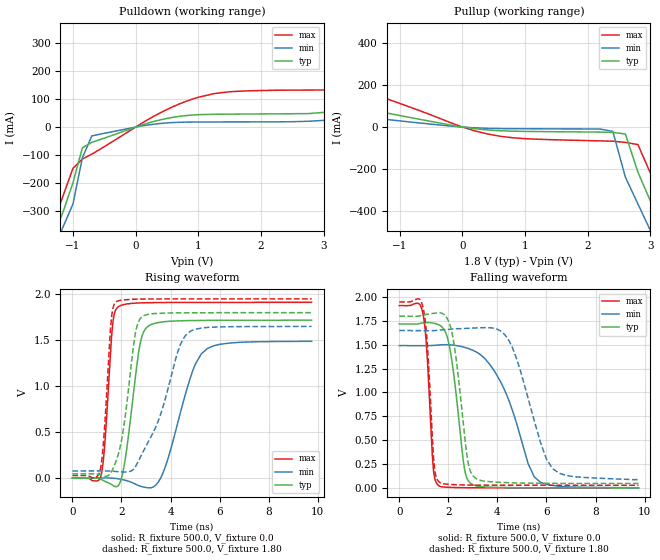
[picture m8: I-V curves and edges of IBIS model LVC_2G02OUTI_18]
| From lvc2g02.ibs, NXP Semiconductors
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|   Model LVC_2G02OUTI_18
[Model]   LVC_2G02OUTI_18
Model_type   Output
Polarity   Inverting
Vmeas =  0.9V
Cref  =  30.0pF
Rref  =  1.0k
Vref  =  0.0V
C_comp   3.40pF   2.23pF   4.36pF
[Model Spec]
| Note: The input and output voltage ratings may be exceeded if the input and
|   output current ratings are observed (please refer to the data sheet)
|   Subparameter   typ   min   max
| Timing Thresholds
Vmeas   0.9   0.825   0.975
|Ambient temperature:   25   85   -40
[Temperature Range]   25   85   -40
[Voltage Range]   1.80V   1.65V   1.95V
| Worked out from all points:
|   slope of the pulldown table from 0 to 0.27 V, typ, clamps not added: 14.4 ohm
|   slope of the pullup table from 0 to 0.27 V, typ, clamps not added: 27.3 ohm
|   rising waveform, R_fixture 500.0, V_fixture 0.0: 20-80 % time 476ps typ, 945ps min, 273ps max; typ from 0 V to 1.72 V
|   rising waveform, R_fixture 500.0, V_fixture 1.80: 20-80 % time 502ps typ, 1.16ns min, 266ps max; typ from 0.046 V to 1.8 V
|   falling waveform, R_fixture 500.0, V_fixture 0.0: 20-80 % time 464ps typ, 1.25ns min, 240ps max; typ from 1.72 V to 0 V
|   falling waveform, R_fixture 500.0, V_fixture 1.80: 20-80 % time 463ps typ, 1.06ns min, 249ps max; typ from 1.8 V to 0.046 V
|Process Range   nominal   slow   fast
[Pulldown]
| voltage   I(typ)   I(min)   I(max)
-5.5V     -4.525A    -4.561A    -4.482A
-1.45V    -520.9mA   -565.8mA   -470mA
-1.3V     -384.5mA   -430mA     -334mA
-1.15V    -297.4mA   -352.1mA   -240mA
-1V       -198.6mA   -274.3mA   -147.3mA
-850mV    -74.25mA   -109.7mA   -114.1mA
-700mV    -54.53mA   -31.75mA   -96.74mA
900mV     42.9mA     17.87mA    99.35mA
3.25V     59.57mA    28.49mA    143.3mA
5.5V      165.3mA    83.79mA    348.4mA
8.75V     350.2mA    185.6mA    696.7mA
11V       486.8mA    191.3mA    947.4mA
[Pullup]
| voltage   I(typ)   I(min)   I(max)
-9.35V    506.2mA    337.2mA    835.8mA
-8.55V    468.2mA    308.4mA    782.6mA
-4.75V    268.3mA    164.9mA    479.3mA
-2.75V    153.9mA    89.04mA    297.6mA
200mV     -7.848mA   -3.636mA   -18.36mA
2.4V      -25.33mA   -20.67mA   -67.34mA
2.6V      -32.86mA   -238.1mA   -72.8mA
2.8V      -214.4mA   -365.8mA   -83.27mA
3V        -352.1mA   -492.7mA   -219.4mA
3.2V      -516.1mA   -684.8mA   -373.7mA
3.4V      -715.5mA   -882.4mA   -569mA
7.45V     -4.682A    -4.863A    -4.503A
[Ramp]
| variable   typ   min   max
dV/dt_r   1.031V/476.124ps   892.838mV/945.379ps   1.147V/272.750ps
dV/dt_f   1.052V/463.597ps   938.224mV/1.060ns   1.154V/248.814ps
R_load = 500.0
[Rising Waveform]
R_fixture   = 500.0
V_fixture   = 0.0
V_fixture_min = 0.0
V_fixture_max = 0.0
| time   V(typ)   V(min)   V(max)
0s        9.233pV    355.8pV    3.068pV
1.15ns    -13.18mV   1.076mV    13.67mV
1.65ns    -79.96mV   -1.185mV   1.696V
1.85ns    -87.13mV   -7.511mV   1.86V
2.15ns    200.7mV    -23.74mV   1.891V
2.75ns    1.448V     -86.32mV   1.906V
3.1ns     1.655V     -106.5mV   1.908V
3.7ns     1.7V       60.79mV    1.91V
5.25ns    1.715V     1.35V      1.911V
9.75ns    1.718V     1.488V     1.912V
[Rising Waveform]
R_fixture   = 500.0
V_fixture   = 1.80
V_fixture_min = 1.65
V_fixture_max = 1.95
| time   V(typ)   V(min)   V(max)
0s        45.81mV    77.33mV    27.35mV
1.15ns    33.29mV    77.54mV    105.8mV
1.3ns     21mV       77.28mV    506.5mV
1.6ns     71.51mV    75.2mV     1.765V
1.8ns     200.6mV    70.91mV    1.921V
2.1ns     570mV      65.32mV    1.939V
2.55ns    1.551V     115.6mV    1.946V
2.85ns    1.758V     269.6mV    1.948V
4.7ns     1.799V     1.576V     1.95V
9.75ns    1.8V       1.65V      1.95V
[Falling Waveform]
R_fixture   = 500.0
V_fixture   = 0.0
V_fixture_min = 0.0
V_fixture_max = 0.0
| time   V(typ)   V(min)   V(max)
0s        1.719V     1.492V     1.912V
950ps     1.73V      1.491V     1.843V
1.4ns     1.727V     1.494V     168mV
1.6ns     1.711V     1.498V     24.25mV
2.05ns    1.477V     1.5V       5.372mV
2.65ns    211.1mV    1.474V     1.678mV
2.9ns     49.45mV    1.453V     1.036mV
4.1ns     4.367mV    1.126V     80.92uV
5.75ns    654.8uV    58.93mV    -12.22uV
9.75ns    -17.64uV   1.526mV    -2.035uV
[Falling Waveform]
R_fixture   = 500.0
V_fixture   = 1.80
V_fixture_min = 1.65
V_fixture_max = 1.95
| time   V(typ)   V(min)   V(max)
0s        1.8V       1.65V      1.95V
950ps     1.811V     1.649V     1.909V
1.4ns     1.83V      1.649V     301.6mV
1.65ns    1.835V     1.655V     56mV
2.15ns    1.625V     1.665V     34.75mV
2.8ns     271.2mV    1.673V     29.47mV
3.1ns     102.4mV    1.677V     28.56mV
4.5ns     53.4mV     1.53V      27.43mV
6.25ns    46.88mV    201.3mV    27.35mV
9.75ns    45.83mV    86.29mV    27.35mV
